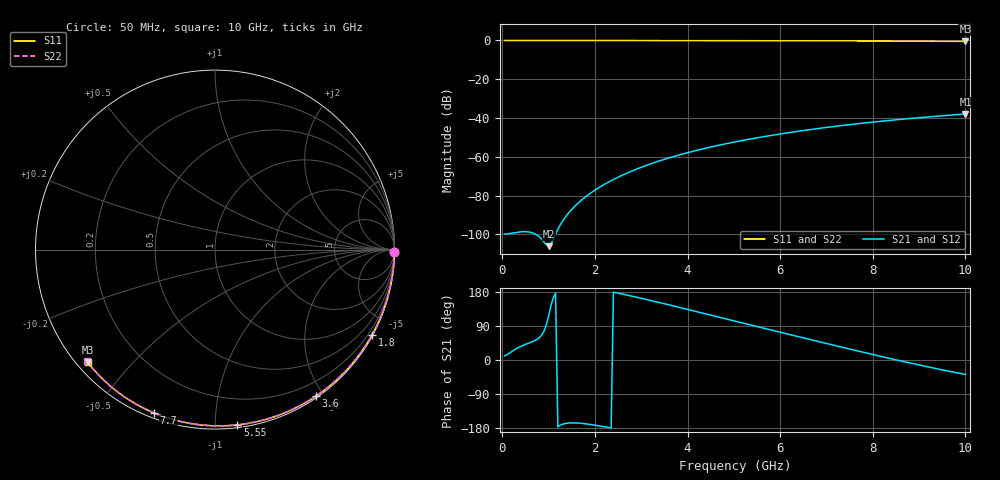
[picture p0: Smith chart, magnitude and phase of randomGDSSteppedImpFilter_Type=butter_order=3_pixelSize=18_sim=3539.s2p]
! freq	dB(S11)	phase(S11)	dB(S12)	phase(S12)
!  dB(S21)	phase(S21)	dB(S22)	phase(S22)
!S-par simulation data
#  GHz  S  DB  R 50
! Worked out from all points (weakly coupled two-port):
!   200 points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, 50 MHz to 10 GHz, reference 50 ohm
!   highest |S21| = -37.89 dB at 10 GHz (marker M1); lowest = -106.1 dB at 1 GHz (marker M2)
!   lowest |S11| = -0.5 dB at 10 GHz (marker M3), VSWR 36.78, Z = 1.56 - j19 ohm
!   |S11| at or under -10 dB: nowhere
!   |S22| runs from -0.5 to 0.0 dB; largest |S21 - S12| = 0
!   S11 on the Smith chart (normalised r, x): 50 MHz: open; 1.8 GHz: 0.03, -3.95; 3.6 GHz: 0.02, -1.90; 5.55 GHz: 0.02, -1.14; 7.7 GHz: 0.02, -0.69; 10 GHz: 0.03, -0.38
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0.05  -0.00 -0.8  -99.90 11.1  -99.90 11.1  -0.00 -0.8
0.5  -0.01 -8.0  -98.60 41.2  -98.60 41.2  -0.01 -8.0
1  -0.02 -15.9  -106.08 116.3  -106.08 116.3  -0.02 -16.0
1.75  -0.04 -27.6  -81.54 -167.7  -81.54 -167.7  -0.04 -27.7
1.8  -0.04 -28.4  -80.59 -168.4  -80.59 -168.4  -0.04 -28.5
1.85  -0.04 -29.2  -79.69 -169.2  -79.69 -169.2  -0.04 -29.3
2.05  -0.04 -32.2  -76.43 -172.9  -76.43 -172.9  -0.04 -32.4
2.25  -0.05 -35.3  -73.60 -177.3  -73.60 -177.3  -0.05 -35.4
2.55  -0.05 -39.9  -69.95 175.2  -69.95 175.2  -0.05 -40.0
2.95  -0.06 -45.9  -65.88 164.4  -65.88 164.4  -0.06 -46.0
3.4  -0.07 -52.5  -62.06 151.4  -62.06 151.4  -0.07 -52.7
3.6  -0.07 -55.4  -60.57 145.5  -60.57 145.5  -0.07 -55.7
3.9  -0.08 -59.8  -58.51 136.5  -58.51 136.5  -0.08 -60.0
4.3  -0.09 -65.5  -56.07 124.5  -56.07 124.5  -0.09 -65.7
5.05  -0.12 -75.9  -52.20 101.8  -52.20 101.8  -0.12 -76.2
5.55  -0.14 -82.7  -50.01 86.8  -50.01 86.8  -0.14 -83.0
6.1  -0.16 -90.0  -47.87 70.3  -47.87 70.3  -0.16 -90.4
6.7  -0.19 -97.8  -45.79 52.5  -45.79 52.5  -0.19 -98.2
7.7  -0.25 -110.4  -42.86 23.1  -42.86 23.1  -0.25 -110.8
8.35  -0.30 -118.4  -41.26 4.6  -41.26 4.6  -0.30 -118.9
9.2  -0.38 -128.8  -39.44 -18.4  -39.44 -18.4  -0.38 -129.3
10  -0.47 -138.4  -37.89 -38.1  -37.89 -38.1  -0.48 -139.1
